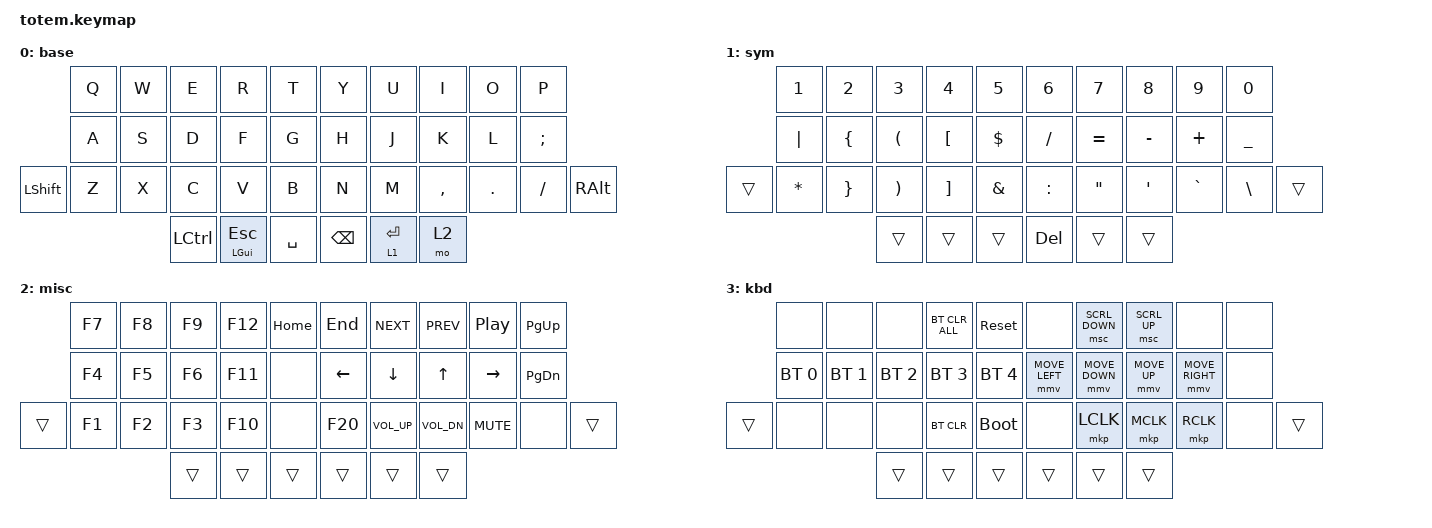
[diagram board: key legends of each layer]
//
//                                                        ▀▀▀▀▀     ▀▀▀▀▀          ▀▀█▀▀
//                                                        ▄▀▀▀▄  ▄  ▄▀▀▀▄  ▄  ▄▀▀▀▄  █  ▄▀▀▀▄
//                                                        █   █  █  █   █  █  █   █  █  █   █
//                                                         ▀▀▀   █   ▀▀▀   █   ▀▀▀   ▀   ▀▀▀
//                                                               █      ▄▄▄█▄▄▄    █   █  
//                                                               ▀      █  █  █     █▄█
//                                                             ▀▀▀▀▀    █  █  █      ▀
//                                                                      ▀  ▀  ▀
//
// ▄▄▄▄▄▄▄▄▄▄▄▄▄▄▄▄▄▄▄▄▄▄▄▄▄▄▄▄▄▄▄▄▄▄▄▄▄▄▄▄▄▄▄▄▄▄▄▄▄▄▄▄▄▄▄▄▄▄▄▄▄▄▄▄▄▄▄▄▄▄▄▄▄▄▄▄▄▄▄▄▄▄▄▄▄▄▄▄▄▄▄▄▄▄▄▄▄▄▄▄▄▄▄▄▄▄▄▄▄▄▄▄▄▄▄▄▄▄▄▄▄▄▄▄▄▄▄▄▄▄▄▄▄▄▄▄▄▄▄▄▄▄▄▄▄▄▄▄▄

#include <behaviors.dtsi>
#include <dt-bindings/zmk/bt.h>
#include <dt-bindings/zmk/keys.h>
#include <dt-bindings/zmk/pointing.h>

#define BASE 0
#define NAV  1
#define SYM  2
#define ADJ  3
#define TVP1 4
#define TVP2 5

&mt {
    quick-tap-ms = <100>;
    global-quick-tap;
    flavor = "tap-preferred";
    tapping-term-ms = <170>;
};

/ {
    combos {
        compatible = "zmk,combos";

        thru {
            bindings = <&kp TAB>;
            key-positions = <1 0>;
            layers = <0>;
        };

        home {
            bindings = <&kp TILDE>;
            key-positions = <16 17>;
            layers = <0>;
        };

        shot {
            bindings = <&kp PRINTSCREEN>;
            key-positions = <24 23 22>;
            layers = <0>;
        };
    };

    keymap {
        compatible = "zmk,keymap";

        // ▄▄▄▄▄▄▄▄▄▄▄▄▄▄▄▄▄▄▄▄▄▄▄▄▄▄▄▄▄▄▄▄▄▄▄▄▄▄▄▄▄▄▄▄▄▄▄▄▄▄▄▄▄▄▄▄▄▄▄▄▄▄▄▄▄▄▄▄▄▄▄▄▄▄▄▄▄▄▄▄▄▄▄▄▄▄▄▄▄▄▄▄▄▄▄▄▄▄▄▄▄▄▄▄▄▄▄▄▄▄▄▄▄▄▄▄▄▄▄▄▄▄▄▄▄▄▄▄▄▄▄▄▄▄▄▄▄▄▄▄▄▄▄▄▄▄▄▄▄

        base {
            // ┏━━━━━━━━━━━━━━━━━━━━━━━━━━━━━━━━━━━━━━━┓
            // ┗━━━━━━━━━━━━━━━━━━━━━━━━━━━━━━━━━━━━━━━┛
            //             ┏━━━━━━━━━━━┳━━━━━━━━━━━┳━━━━━━━━━━━┳━━━━━━━━━━━┳━━━━━━━━━━━┓   ┏━━━━━━━━━━━┳━━━━━━━━━━━┳━━━━━━━━━━━┳━━━━━━━━━━━┳━━━━━━━━━━━┓
            //             ┃     Q     ┃     W     ┃     F     ┃     P     ┃     G     ┃   ┃     J     ┃     L     ┃     U     ┃     Y     ┃     ;     ┃
            //             ┣━━━━━━━━━━━╋━━━━━━━━━━━╋━━━━━━━━━━━╋━━━━━━━━━━━╋━━━━━━━━━━━┫   ┣━━━━━━━━━━━╋━━━━━━━━━━━╋━━━━━━━━━━━╋━━━━━━━━━━━╋━━━━━━━━━━━┫
            //             ┃     A     ┃     R     ┃     S     ┃     T     ┃     D     ┃   ┃     H     ┃     N     ┃     E     ┃     I     ┃     O     ┃
            // ┏━━━━━━━━━━━╋━━━━━━━━━━━╋━━━━━━━━━━━╋━━━━━━━━━━━╋━━━━━━━━━━━╋━━━━━━━━━━━┫   ┣━━━━━━━━━━━╋━━━━━━━━━━━╋━━━━━━━━━━━╋━━━━━━━━━━━╋━━━━━━━━━━━╋━━━━━━━━━━━┓
            // ┃     Q     ┃     Z     ┃     X     ┃     C     ┃     V     ┃     B     ┃   ┃     K     ┃     M     ┃     ,     ┃     .     ┃     /     ┃     \     ┃
            // ┗━━━━━━━━━━━┻━━━━━━━━━━━┻━━━━━━━━━━━╋━━━━━━━━━━━╋━━━━━━━━━━━╋━━━━━━━━━━━┫   ┣━━━━━━━━━━━╋━━━━━━━━━━━╋━━━━━━━━━━━╋━━━━━━━━━━━┻━━━━━━━━━━━┻━━━━━━━━━━━┛
            //                                     ┃    DEL    ┃    TAB    ┃    SPC    ┃   ┃   ENTER   ┃           ┃   BSPC    ┃
            //                                     ┗━━━━━━━━━━━┻━━━━━━━━━━━┻━━━━━━━━━━━┛   ┗━━━━━━━━━━━┻━━━━━━━━━━━┻━━━━━━━━━━━┛

            bindings = <
                &kp Q  &kp W  &kp E      &kp R                &kp T        &kp Y          &kp U      &kp I      &kp O    &kp P
                &kp A  &kp S  &kp D      &kp F                &kp G        &kp H          &kp J      &kp K      &kp L    &kp SEMICOLON
&kp LEFT_SHIFT  &kp Z  &kp X  &kp C      &kp V                &kp B        &kp N          &kp M      &kp COMMA  &kp DOT  &kp FSLH       &kp RIGHT_ALT
                              &kp LCTRL  &mt LEFT_GUI ESCAPE  &kp SPACE    &kp BACKSPACE  &lt 1 RET  &mo 2
            >;
        };

        // ▄▄▄▄▄▄▄▄▄▄▄▄▄▄▄▄▄▄▄▄▄▄▄▄▄▄▄▄▄▄▄▄▄▄▄▄▄▄▄▄▄▄▄▄▄▄▄▄▄▄▄▄▄▄▄▄▄▄▄▄▄▄▄▄▄▄▄▄▄▄▄▄▄▄▄▄▄▄▄▄▄▄▄▄▄▄▄▄▄▄▄▄▄▄▄▄▄▄▄▄▄▄▄▄▄▄▄▄▄▄▄▄▄▄▄▄▄▄▄▄▄▄▄▄▄▄▄▄▄▄▄▄▄▄▄▄▄▄▄▄▄▄▄▄▄▄▄▄▄
        // ▄▄▄▄▄▄▄▄▄▄▄▄▄▄▄▄▄▄▄▄▄▄▄▄▄▄▄▄▄▄▄▄▄▄▄▄▄▄▄▄▄▄▄▄▄▄▄▄▄▄▄▄▄▄▄▄▄▄▄▄▄▄▄▄▄▄▄▄▄▄▄▄▄▄▄▄▄▄▄▄▄▄▄▄▄▄▄▄▄▄▄▄▄▄▄▄▄▄▄▄▄▄▄▄▄▄▄▄▄▄▄▄▄▄▄▄▄▄▄▄▄▄▄▄▄▄▄▄▄▄▄▄▄▄▄▄▄▄▄▄▄▄▄▄▄▄▄▄▄
        // ▄▄▄▄▄▄▄▄▄▄▄▄▄▄▄▄▄▄▄▄▄▄▄▄▄▄▄▄▄▄▄▄▄▄▄▄▄▄▄▄▄▄▄▄▄▄▄▄▄▄▄▄▄▄▄▄▄▄▄▄▄▄▄▄▄▄▄▄▄▄▄▄▄▄▄▄▄▄▄▄▄▄▄▄▄▄▄▄▄▄▄▄▄▄▄▄▄▄▄▄▄▄▄▄▄▄▄▄▄▄▄▄▄▄▄▄▄▄▄▄▄▄▄▄▄▄▄▄▄▄▄▄▄▄▄▄▄▄▄▄▄▄▄▄▄▄▄▄▄
        // ▄▄▄▄▄▄▄▄▄▄▄▄▄▄▄▄▄▄▄▄▄▄▄▄▄▄▄▄▄▄▄▄▄▄▄▄▄▄▄▄▄▄▄▄▄▄▄▄▄▄▄▄▄▄▄▄▄▄▄▄▄▄▄▄▄▄▄▄▄▄▄▄▄▄▄▄▄▄▄▄▄▄▄▄▄▄▄▄▄▄▄▄▄▄▄▄▄▄▄▄▄▄▄▄▄▄▄▄▄▄▄▄▄▄▄▄▄▄▄▄▄▄▄▄▄▄▄▄▄▄▄▄▄▄▄▄▄▄▄▄▄▄▄▄▄▄▄▄▄
        // ▄▄▄▄▄▄▄▄▄▄▄▄▄▄▄▄▄▄▄▄▄▄▄▄▄▄▄▄▄▄▄▄▄▄▄▄▄▄▄▄▄▄▄▄▄▄▄▄▄▄▄▄▄▄▄▄▄▄▄▄▄▄▄▄▄▄▄▄▄▄▄▄▄▄▄▄▄▄▄▄▄▄▄▄▄▄▄▄▄▄▄▄▄▄▄▄▄▄▄▄▄▄▄▄▄▄▄▄▄▄▄▄▄▄▄▄▄▄▄▄▄▄▄▄▄▄▄▄▄▄▄▄▄▄▄▄▄▄▄▄▄▄▄▄▄▄▄▄▄

        sym {
            bindings = <
        &kp N1        &kp N2           &kp N3                 &kp N4             &kp N5           &kp N6     &kp N7             &kp N8     &kp N9     &kp N0
        &kp PIPE      &kp LEFT_BRACE   &kp LEFT_PARENTHESIS   &kp LEFT_BRACKET   &kp DOLLAR       &kp SLASH  &kp EQUAL          &kp MINUS  &kp PLUS   &kp UNDERSCORE
&trans  &kp ASTERISK  &kp RIGHT_BRACE  &kp RIGHT_PARENTHESIS  &kp RIGHT_BRACKET  &kp AMPERSAND    &kp COLON  &kp DOUBLE_QUOTES  &kp SQT    &kp GRAVE  &kp BACKSLASH   &trans
                                       &trans                 &trans             &trans           &kp DEL    &trans             &trans
            >;
        };

        misc {
            bindings = <
        &kp F7  &kp F8  &kp F9  &kp F12  &kp HOME    &kp END   &kp C_NEXT    &kp C_PREV    &kp C_PLAY_PAUSE  &kp PG_UP
        &kp F4  &kp F5  &kp F6  &kp F11  &none       &kp LEFT  &kp DOWN      &kp UP        &kp RIGHT         &kp PAGE_DOWN
&trans  &kp F1  &kp F2  &kp F3  &kp F10  &none       &kp F20   &kp C_VOL_UP  &kp C_VOL_DN  &kp K_MUTE        &none          &trans
                        &trans  &trans   &trans      &trans    &trans        &trans
            >;
        };

        kbd {
            bindings = <
        &none         &none         &none         &bt BT_CLR_ALL  &sys_reset      &none           &msc SCRL_DOWN  &msc SCRL_UP  &none            &none
        &bt BT_SEL 0  &bt BT_SEL 1  &bt BT_SEL 2  &bt BT_SEL 3    &bt BT_SEL 4    &mmv MOVE_LEFT  &mmv MOVE_DOWN  &mmv MOVE_UP  &mmv MOVE_RIGHT  &none
&trans  &none         &none         &none         &bt BT_CLR      &bootloader     &none           &mkp LCLK       &mkp MCLK     &mkp RCLK        &none  &trans
                                    &trans        &trans          &trans          &trans          &trans          &trans
            >;
        };
    };
};
